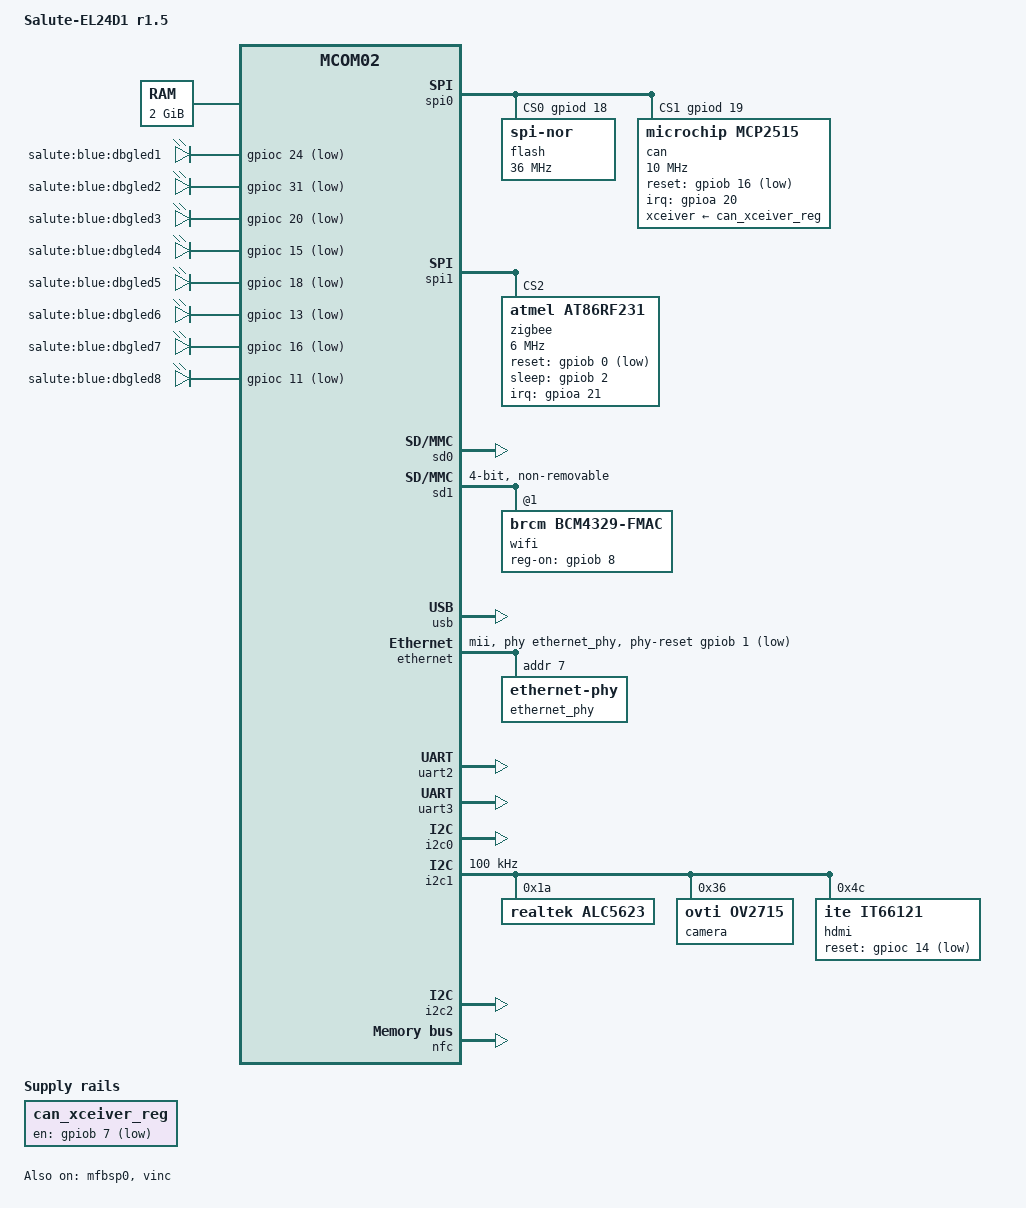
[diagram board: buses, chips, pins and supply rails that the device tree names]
/*
* Copyright 2016 ELVEES NeoTek JSC
*
* This program is free software; you can redistribute it and/or modify
* it under the terms of the GNU General Public License version 2 as
* published by the Free Software Foundation.
*/

/dts-v1/;

#include <dt-bindings/interrupt-controller/irq.h>
#include <dt-bindings/gpio/gpio.h>

#include "mcom02.dtsi"

/ {
	model = "Salute-EL24D1 r1.5";
	compatible = "elvees,salute-el24d1-r1.5",
		     "elvees,salute-el24d1",
		     "elvees,mcom02";

	chosen {
		bootargs = "console=ttyS0,115200";
	};

	aliases {
		spi0 = &spi0;
		spi1 = &spi1;
	};

	memory {
		device_type = "memory";
		reg = <0x40000000 0x40000000
		       0xa0000000 0x40000000>;
	};

	clocks {
		can_clk: can_clk {
			#clock-cells = <0>;
			compatible = "fixed-clock";
			clock-frequency = <16000000>;
		};
	};

	leds {
		compatible = "gpio-leds";

		dbgled@1 {
			label = "salute:blue:dbgled1";
			gpios = <&gpioc 24 GPIO_ACTIVE_LOW>;
			linux,default-trigger = "heartbeat";
		};

		dbgled@2 {
			label = "salute:blue:dbgled2";
			gpios = <&gpioc 31 GPIO_ACTIVE_LOW>;
			linux,default-trigger = "mmc0";
		};

		dbgled@3 {
			label = "salute:blue:dbgled3";
			gpios = <&gpioc 20 GPIO_ACTIVE_LOW>;
			default-state = "off";
		};

		dbgled@4 {
			label = "salute:blue:dbgled4";
			gpios = <&gpioc 15 GPIO_ACTIVE_LOW>;
			default-state = "off";
		};

		dbgled@5 {
			label = "salute:blue:dbgled5";
			gpios = <&gpioc 18 GPIO_ACTIVE_LOW>;
			default-state = "off";
		};

		dbgled@6 {
			label = "salute:blue:dbgled6";
			gpios = <&gpioc 13 GPIO_ACTIVE_LOW>;
			default-state = "off";
		};

		dbgled@7 {
			label = "salute:blue:dbgled7";
			gpios = <&gpioc 16 GPIO_ACTIVE_LOW>;
			default-state = "off";
		};

		dbgled@8 {
			label = "salute:blue:dbgled8";
			gpios = <&gpioc 11 GPIO_ACTIVE_LOW>;
			default-state = "off";
		};
	};

	regulators {
		#address-cells = <1>;
		#size-cells = <0>;
		compatible = "simple-bus";

		can_xceiver_reg: regulator@0 {
			compatible = "regulator-fixed";
			reg = <0x0>;
			regulator-name = "can-xceiver";
			gpio = <&gpiob 7 0>;
		};
	};

	sound {
		compatible = "simple-audio-card";
		simple-audio-card,name = "Salute-EL24D1";
		simple-audio-card,format = "i2s";
		simple-audio-card,bitclock-master = <&dailink0_master>;
		simple-audio-card,frame-master = <&dailink0_master>;

		simple-audio-card,cpu {
			sound-dai = <&mfbsp0>;
		};

		dailink0_master: simple-audio-card,codec {
			sound-dai = <&alc5623>;
			system-clock-frequency = <24576000>;
		};
	};
};

&mfbsp0 {
	status = "okay";
};

&spi0 {
	status = "okay";
	num-cs = <2>;
	/* Third argument of "cs-gpios" property is set to 0,
	 * because it is ignored by the SPI driver. */
	cs-gpios = <&gpiod 18 0>, <&gpiod 19 0>;

	flash: flash@0 {
		#address-cells = <1>;
		#size-cells = <1>;
		compatible = "jedec,spi-nor", "spi-flash";
		reg = <0>;
		/* The data transfer is not stable at a higher frequency. */
		spi-max-frequency = <36000000>;
		m25p,fast-read;
		u-boot,dm-pre-reloc;
	};

	can: can@1 {
		compatible = "microchip,mcp2515";
		reg = <1>;
		clocks = <&can_clk>;
		interrupt-parent = <&gpioa>;
		interrupts = <20 IRQ_TYPE_LEVEL_LOW>;
		reset-gpios = <&gpiob 16 GPIO_ACTIVE_LOW>;
		spi-max-frequency = <10000000>;
		xceiver-supply = <&can_xceiver_reg>;
	};
};

&spi1 {
	/* Synopsys SPI has hardware Chip Select support.
	* SPI1_nSS0 and SPI1_nSS1 are wired to X4, SPI1_nSS2
	* is wired to Zigbee. */

	status = "okay";

	zigbee: zigbee@2 {
		compatible = "atmel,at86rf231";
		/* max-frequency for at86rf231 is 7500000, but we
		 * set it to 6000000 because controller works more stable.
		 */
		spi-max-frequency = <6000000>;
		reg = <2>;
		interrupts = <21 IRQ_TYPE_LEVEL_HIGH>;
		interrupt-parent = <&gpioa>;
		reset-gpio = <&gpiob 0 GPIO_ACTIVE_LOW>;
		sleep-gpio = <&gpiob 2 GPIO_ACTIVE_HIGH>;
	};
};

&sd0 {
	status = "okay";
};

&sd1 {
	#address-cells = <1>;
	#size-cells = <0>;
	non-removable;
	broken-cd;
	bus-width = <4>;
	max-frequency = <50000000>;
	keep-power-in-suspend;
	status = "okay";

	wifi: wifi {
		reg = <1>;
		compatible = "brcm,bcm4329-fmac";
		reg-on-gpio = <&gpiob 8 GPIO_ACTIVE_HIGH>;
	};
};

&usb {
	status = "okay";
};

&vinc {
	status = "okay";
	elvees,pixel-clock-divider = <16>;
	elvees,pixel-clock-over-fsync;
	ports {
		port@0 {
			#address-cells = <1>;
			#size-cells = <0>;
			vinc_endpoint0: endpoint@0 {
				reg = <0>;
				remote-endpoint = <&ov2715endpoint>;
				elvees,ifacenum = /bits/ 8 <2>;
			};
		};
	};
};

&ethernet {
	#address-cells = <1>;
	#size-cells = <0>;
	status = "okay";
	phy-mode = "mii";
	phy-handle = <&ethernet_phy>;
	phy-reset-gpios = <&gpiob 1 GPIO_ACTIVE_LOW>;

	ethernet_phy: ethernet-phy@7 {
		reg = <7>;
	};
};

/*
* RS-485 is used as physical layer for UART2
*/

&uart2 {
	status = "okay";
};

/*
* RS-232 is used as physical layer for UART3
*/

&uart3 {
	status = "okay";
};

&i2c0 {
	/* Connected to voltage regulator */
	status = "okay";
};

&i2c1 {
	/* Connected to HDMI transmitter, audio and sensors */
	status = "okay";
	clock-frequency = <100000>;

	alc5623: alc5623@1a {
		#sound-dai-cells = <0>;
		compatible = "realtek,alc5623";
		reg = <0x1a>;
	};

	camera@36 {
		compatible = "ovti,ov2715";
		reg = <0x36>;
		port {
			ov2715endpoint: endpoint {
				remote = <&vinc_endpoint0>;
			};
		};
	};

	hdmi: it66121@4c {
		compatible = "ite,it66121";
		reg = <0x4c>;
		reset-gpios = <&gpioc 14 GPIO_ACTIVE_LOW>;
	};
};

&i2c2 {
	/* Wired out to PI connector */
	status = "okay";
};

&framebuffer {
	status = "okay";
	output = <&hdmi>;
};

&nfc {
	status = "okay";
};
